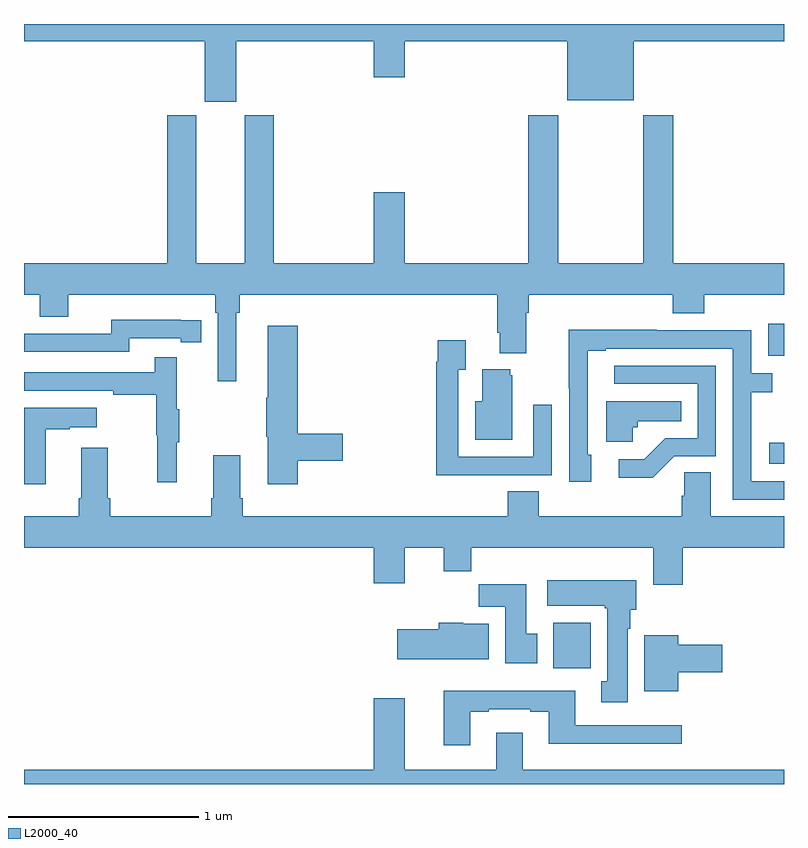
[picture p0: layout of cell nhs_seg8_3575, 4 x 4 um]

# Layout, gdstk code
import gdstk
lib = gdstk.Library(unit=1e-6, precision=1e-09)
def R(c, l, rs):  # rectangles x0, y0, x1, y1
    for r in rs: c.add(gdstk.rectangle(r[:2], r[2:], *l))
def P(c, l, *ps):  # polygons
    for p in ps: c.add(gdstk.Polygon(p, *l))
L2000_40 = (2000, 40)

nhs_seg8_3575 = lib.new_cell('nhs_seg8_3575')
R(nhs_seg8_3575, L2000_40, [(333.785,1138.508,333.982,1138.75), (334.923,1139.585,335,1139.695), (334.917,1140.153,335,1140.322)])
P(nhs_seg8_3575, L2000_40, [(332.116,1141.808),(332.84,1141.808),(332.84,1141.62),(333.004,1141.62),(333.004,1141.808),(333.86,1141.808),(333.86,1141.499),(334.21,1141.499),(334.21,1141.808),(335,1141.808),(335,1141.9),(331,1141.9),(331,1141.808),(331.952,1141.808),(331.952,1141.491),(332.116,1141.491)],
  [(333.004,1141.015),(332.84,1141.015),(332.84,1140.64),(332.315,1140.64),(332.315,1141.419),(332.162,1141.419),(332.162,1140.64),(331.906,1140.64),(331.906,1141.419),(331.754,1141.419),(331.754,1140.64),(331,1140.64),(331,1140.476),(331.082,1140.476),(331.082,1140.359),(331.234,1140.359),(331.234,1140.476),(332.006,1140.476),(332.006,1140.38),(332.019,1140.38),(332.019,1140.021),(332.116,1140.021),(332.116,1140.38),(332.135,1140.38),(332.135,1140.476),(333.491,1140.476),(333.491,1140.274),(333.503,1140.274),(333.503,1140.167),(333.643,1140.167),(333.643,1140.38),(333.656,1140.38),(333.656,1140.476),(334.415,1140.476),(334.415,1140.377),(334.58,1140.377),(334.58,1140.476),(335,1140.476),(335,1140.64),(334.418,1140.64),(334.418,1141.42),(334.258,1141.42),(334.258,1140.64),(333.813,1140.64),(333.813,1141.42),(333.653,1141.42),(333.653,1140.64),(333.004,1140.64)],
  [(331.554,1140.246),(331.826,1140.246),(331.826,1140.226),(331.934,1140.226),(331.934,1140.342),(331.826,1140.342),(331.826,1140.343),(331.458,1140.343),(331.458,1140.27),(331,1140.27),(331,1140.174),(331.554,1140.174)],
  [(332.441,1139.602),(332.677,1139.602),(332.677,1139.744),(332.441,1139.744),(332.441,1140.313),(332.282,1140.313),(332.282,1139.933),(332.275,1139.933),(332.275,1139.727),(332.282,1139.727),(332.282,1139.478),(332.441,1139.478)],
  [(335,1139.493),(334.827,1139.493),(334.827,1139.962),(334.937,1139.962),(334.937,1140.063),(334.827,1140.063),(334.827,1140.288),(334.331,1140.288),(334.331,1140.29),(333.868,1140.29),(333.868,1139.983),(333.87,1139.983),(333.87,1139.49),(333.985,1139.49),(333.985,1139.634),(333.966,1139.634),(333.966,1140.18),(334.063,1140.18),(334.063,1140.192),(334.731,1140.192),(334.731,1139.397),(335,1139.397)],
  [(333.461,1139.526),(333.777,1139.526),(333.777,1139.896),(333.681,1139.896),(333.681,1139.622),(333.285,1139.622),(333.285,1140.079),(333.325,1140.079),(333.325,1140.235),(333.177,1140.235),(333.177,1140.122),(333.169,1140.122),(333.169,1139.525),(333.461,1139.525)],
  [(331.805,1139.699),(331.816,1139.699),(331.816,1139.873),(331.805,1139.873),(331.805,1140.145),(331.687,1140.145),(331.687,1140.066),(331,1140.066),(331,1139.97),(331.471,1139.97),(331.471,1139.95),(331.695,1139.95),(331.695,1139.736),(331.702,1139.736),(331.702,1139.487),(331.805,1139.487)],
  [(334.422,1139.625),(334.641,1139.625),(334.641,1140.102),(334.107,1140.102),(334.107,1140.006),(334.545,1140.006),(334.545,1139.721),(334.376,1139.721),(334.265,1139.61),(334.131,1139.61),(334.131,1139.513),(334.309,1139.513)],
  [(333.571,1140.051),(333.56,1140.051),(333.56,1140.082),(333.413,1140.082),(333.413,1139.914),(333.374,1139.914),(333.374,1139.711),(333.571,1139.711)],
  [(334.203,1139.778),(334.23,1139.778),(334.23,1139.81),(334.46,1139.81),(334.46,1139.914),(334.064,1139.914),(334.064,1139.702),(334.203,1139.702)],
  [(331.114,1139.767),(331.241,1139.767),(331.241,1139.777),(331.384,1139.777),(331.384,1139.881),(331,1139.881),(331,1139.478),(331.114,1139.478)],
  [(334.466,1139.144),(335,1139.144),(335,1139.308),(334.615,1139.308),(334.615,1139.54),(334.476,1139.54),(334.476,1139.417),(334.463,1139.417),(334.463,1139.308),(333.71,1139.308),(333.71,1139.441),(333.545,1139.441),(333.545,1139.308),(332.15,1139.308),(332.15,1139.404),(332.137,1139.404),(332.137,1139.629),(331.997,1139.629),(331.997,1139.404),(331.985,1139.404),(331.985,1139.308),(331.454,1139.308),(331.454,1139.404),(331.441,1139.404),(331.441,1139.671),(331.301,1139.671),(331.301,1139.404),(331.289,1139.404),(331.289,1139.308),(331,1139.308),(331,1139.144),(332.84,1139.144),(332.84,1138.956),(333.004,1138.956),(333.004,1139.144),(333.209,1139.144),(333.209,1139.02),(333.353,1139.02),(333.353,1139.144),(334.313,1139.144),(334.313,1138.95),(334.466,1138.95)],
  [(334.177,1138.718),(334.192,1138.718),(334.192,1138.818),(334.222,1138.818),(334.222,1138.972),(333.753,1138.972),(333.753,1138.838),(334.057,1138.838),(334.057,1138.825),(334.07,1138.825),(334.07,1138.442),(334.037,1138.442),(334.037,1138.329),(334.177,1138.329)],
  [(333.7,1138.692),(333.643,1138.692),(333.643,1138.951),(333.394,1138.951),(333.394,1138.832),(333.533,1138.832),(333.533,1138.536),(333.7,1138.536)],
  [(333.445,1138.744),(333.312,1138.744),(333.312,1138.75),(333.182,1138.75),(333.182,1138.714),(332.964,1138.714),(332.964,1138.556),(333.445,1138.556)],
  [(334.444,1138.487),(334.675,1138.487),(334.675,1138.634),(334.444,1138.634),(334.444,1138.684),(334.265,1138.684),(334.265,1138.388),(334.444,1138.388)],
  [(333.349,1138.281),(333.445,1138.281),(333.445,1138.293),(333.665,1138.293),(333.665,1138.281),(333.761,1138.281),(333.761,1138.112),(334.462,1138.112),(334.462,1138.209),(333.901,1138.209),(333.901,1138.39),(333.209,1138.39),(333.209,1138.104),(333.349,1138.104)],
  [(335,1137.976),(333.625,1137.976),(333.625,1138.171),(333.485,1138.171),(333.485,1137.976),(333.004,1137.976),(333.004,1138.351),(332.84,1138.351),(332.84,1137.976),(331,1137.976),(331,1137.9),(335,1137.9)])

lib.write_gds('nhs_seg8_3575.gds')
